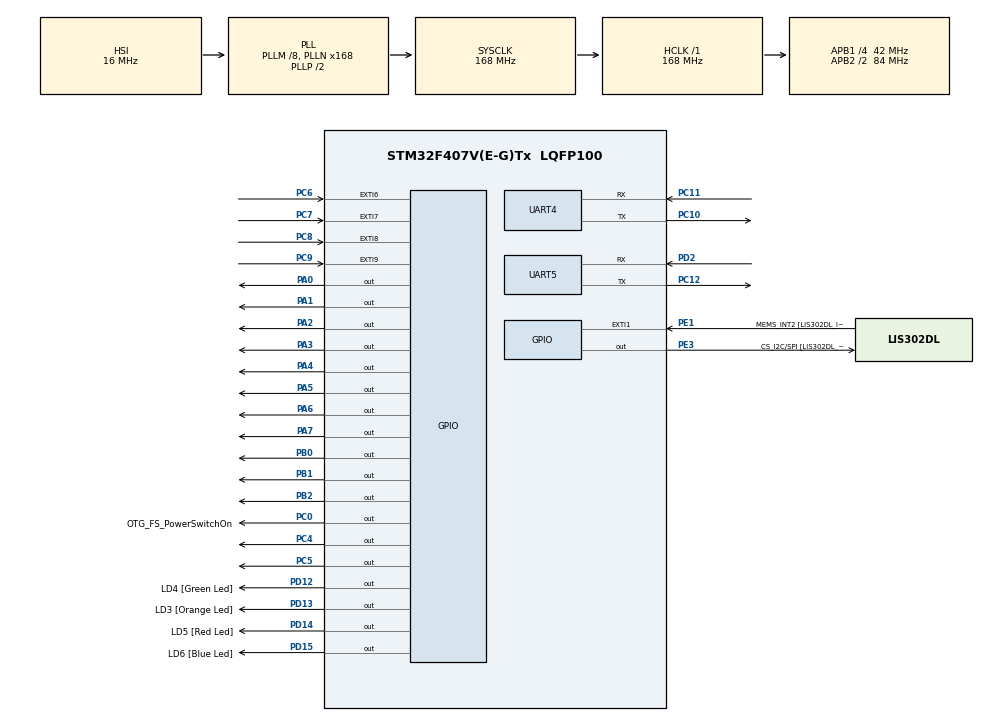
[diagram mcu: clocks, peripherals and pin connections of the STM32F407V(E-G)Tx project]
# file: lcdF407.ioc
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Mcu.Family=STM32F4
Mcu.Name=STM32F407V(E-G)Tx
Mcu.Package=LQFP100
NVIC.EXTI9_5_IRQn=true\:0\:0\:false\:false\:true\:true\:true\:true
NVIC.PriorityGroup=NVIC_PRIORITYGROUP_0
NVIC.UART4_IRQn=true\:0\:0\:false\:false\:true\:true\:true\:true
NVIC.UART5_IRQn=true\:0\:0\:false\:false\:true\:true\:true\:true
PA0-WKUP.Signal=GPIO_Output
PA1.Signal=GPIO_Output
PA10.GPIO_Label=OTG_FS_ID
PA10.GPIO_Mode=GPIO_MODE_AF_PP
PA10.GPIO_PuPd=GPIO_NOPULL
PA10.GPIO_Speed=GPIO_SPEED_FREQ_LOW
PA10.Signal=USB_OTG_FS_ID
PA11.GPIO_Label=OTG_FS_DM
PA11.GPIO_Mode=GPIO_MODE_AF_PP
PA11.GPIO_PuPd=GPIO_NOPULL
PA11.GPIO_Speed=GPIO_SPEED_FREQ_LOW
PA11.Signal=USB_OTG_FS_DM
PA12.GPIO_Label=OTG_FS_DP
PA12.GPIO_Mode=GPIO_MODE_AF_PP
PA12.GPIO_PuPd=GPIO_NOPULL
PA12.GPIO_Speed=GPIO_SPEED_FREQ_LOW
PA12.Signal=USB_OTG_FS_DP
PA13.GPIO_Label=SWDIO
PA13.Signal=SYS_JTMS-SWDIO
PA14.GPIO_Label=SWCLK
PA14.Signal=SYS_JTCK-SWCLK
PA2.Signal=GPIO_Output
PA3.Signal=GPIO_Output
PA4.Signal=GPIO_Output
PA5.Signal=GPIO_Output
PA6.Signal=GPIO_Output
PA7.Signal=GPIO_Output
PA9.GPIO_Label=VBUS_FS
PA9.GPIO_Mode=GPIO_MODE_INPUT
PA9.GPIO_PuPd=GPIO_NOPULL
PA9.Signal=USB_OTG_FS_VBUS
PB0.Signal=GPIO_Output
PB1.Signal=GPIO_Output
PB10.GPIO_Label=CLK_IN [MP45DT02_CLK]
PB10.GPIO_Mode=GPIO_MODE_AF_PP
PB10.GPIO_PuPd=GPIO_NOPULL
PB10.GPIO_Speed=GPIO_SPEED_FREQ_LOW
PB10.Signal=I2S2_CK
PB2.Signal=GPIO_Output
PB3.GPIO_Label=SWO
PB3.Signal=SYS_JTDO-SWO
PB6.GPIO_Label=Audio_SCL [CS43L22_SCL]
PB6.GPIO_Mode=GPIO_MODE_AF_OD
PB6.GPIO_PuPd=GPIO_NOPULL
PB6.GPIO_Speed=GPIO_SPEED_FREQ_LOW
PB6.Signal=I2C1_SCL
PB9.GPIO_Label=Audio_SDA [CS43L22_SDA]
PB9.GPIO_Mode=GPIO_MODE_AF_OD
PB9.GPIO_PuPd=GPIO_NOPULL
PB9.GPIO_Speed=GPIO_SPEED_FREQ_LOW
PB9.Signal=I2C1_SDA
PC0.GPIO_Label=OTG_FS_PowerSwitchOn
PC0.GPIO_PuPd=GPIO_NOPULL
PC0.GPIO_Speed=GPIO_SPEED_FREQ_LOW
PC0.PinState=GPIO_PIN_SET
PC0.Signal=GPIO_Output
PC10.Mode=Asynchronous
PC10.Signal=UART4_TX
PC11.Mode=Asynchronous
PC11.Signal=UART4_RX
PC12.Mode=Asynchronous
PC12.Signal=UART5_TX
PC14-OSC32_IN.GPIO_Label=PC14-OSC32_IN
PC14-OSC32_IN.Signal=RCC_OSC32_IN
PC15-OSC32_OUT.GPIO_Label=PC15-OSC32_OUT
PC15-OSC32_OUT.Signal=RCC_OSC32_OUT
PC3.GPIO_Label=PDM_OUT [MP45DT02_DOUT]
PC3.GPIO_Mode=GPIO_MODE_AF_PP
PC3.GPIO_PuPd=GPIO_NOPULL
PC3.GPIO_Speed=GPIO_SPEED_FREQ_LOW
PC3.Signal=I2S2_SD
PC4.Signal=GPIO_Output
PC5.Signal=GPIO_Output
PC6.GPIO_PuPd=GPIO_PULLDOWN
PC6.Signal=GPXTI6
PC7.GPIO_PuPd=GPIO_PULLDOWN
PC7.Signal=GPXTI7
PC8.GPIO_PuPd=GPIO_PULLDOWN
PC8.Signal=GPXTI8
PC9.GPIO_ModeDefaultEXTI=GPIO_MODE_IT_RISING
PC9.GPIO_PuPd=GPIO_PULLDOWN
PC9.Signal=GPXTI9
PD12.GPIO_Label=LD4 [Green Led]
PD12.GPIO_PuPd=GPIO_NOPULL
PD12.GPIO_Speed=GPIO_SPEED_FREQ_LOW
PD12.Signal=GPIO_Output
PD13.GPIO_Label=LD3 [Orange Led]
PD13.GPIO_PuPd=GPIO_NOPULL
PD13.GPIO_Speed=GPIO_SPEED_FREQ_LOW
PD13.Signal=GPIO_Output
PD14.GPIO_Label=LD5 [Red Led]
PD14.GPIO_PuPd=GPIO_NOPULL
PD14.GPIO_Speed=GPIO_SPEED_FREQ_LOW
PD14.Signal=GPIO_Output
PD15.GPIO_Label=LD6 [Blue Led]
PD15.GPIO_PuPd=GPIO_NOPULL
PD15.GPIO_Speed=GPIO_SPEED_FREQ_LOW
PD15.Signal=GPIO_Output
PD2.Mode=Asynchronous
PD2.Signal=UART5_RX
PE1.GPIO_Label=MEMS_INT2 [LIS302DL_INT2]
PE1.GPIO_ModeDefaultEXTI=GPIO_MODE_EVT_RISING
PE1.GPIO_PuPd=GPIO_NOPULL
PE1.Signal=GPXTI1
PE3.GPIO_Label=CS_I2C/SPI [LIS302DL_CS_I2C/SPI]
PE3.GPIO_PuPd=GPIO_NOPULL
PE3.GPIO_Speed=GPIO_SPEED_FREQ_LOW
PE3.Signal=GPIO_Output
PH0-OSC_IN.GPIO_Label=PH0-OSC_IN
PH0-OSC_IN.Signal=RCC_OSC_IN
PH1-OSC_OUT.GPIO_Label=PH1-OSC_OUT
PH1-OSC_OUT.Signal=RCC_OSC_OUT
ProjectManager.HeapSize=0x200
ProjectManager.StackSize=0x400
ProjectManager.TargetToolchain=STM32CubeIDE
RCC.48MHZClocksFreq_Value=48000000
RCC.AHBFreq_Value=168000000
RCC.APB1CLKDivider=RCC_HCLK_DIV4
RCC.APB1Freq_Value=42000000
RCC.APB1TimFreq_Value=84000000
RCC.APB2CLKDivider=RCC_HCLK_DIV2
RCC.APB2Freq_Value=84000000
RCC.APB2TimFreq_Value=168000000
RCC.CortexFreq_Value=168000000
RCC.HCLKFreq_Value=168000000
RCC.HSE_VALUE=8000000
RCC.HSI_VALUE=16000000
RCC.LSE_VALUE=32768
RCC.PLLM=8
RCC.PLLN=168
RCC.PLLQ=7
RCC.SYSCLKFreq_VALUE=168000000
RCC.SYSCLKSource=RCC_SYSCLKSOURCE_PLLCLK
RCC.VCOOutputFreq_Value=336000000
UART4.VirtualMode=Asynchronous
UART5.VirtualMode=Asynchronous
board=STM32F407G-DISC1

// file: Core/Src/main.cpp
/* USER CODE BEGIN Header */
/**
  ******************************************************************************
  * @file           : main.c
  * @brief          : Main program body
  ******************************************************************************
  * @attention
  *
  * Copyright (c) 2023 STMicroelectronics.
  * All rights reserved.
  *
  * This software is licensed under terms that can be found in the LICENSE file
  * in the root directory of this software component.
  * If no LICENSE file comes with this software, it is provided AS-IS.
  *
  ******************************************************************************
  */
/* USER CODE END Header */
#include "main.h"
#include "usart.h"
#include "gpio.h"

/* USER CODE BEGIN Includes */
#include "glcd.h"
#include "lcd_menu.h"
#include "button.h"
#include "string"
#include "string.h"
#include "strings.h"
#include "qrcode.h"
#include <stdarg.h>
/* USER CODE END Includes */

void SystemClock_Config(void);

/* USER CODE BEGIN 0 */
int up_button=0;
int down_button=0;
int ok_button=0;
int reset_button=0;
int buttontimer=0;
int qr_flag=0;
void HAL_GPIO_EXTI_Callback(uint16_t GPIO_Pin)
{
	if(GPIO_Pin == GPIO_PIN_7&&HAL_GetTick()-buttontimer>300) // если прерывание поступило от ножки PA9
	{
		up_button=1;
		buttontimer=HAL_GetTick();
	}
	else
		if(GPIO_Pin == GPIO_PIN_6&&HAL_GetTick()-buttontimer>300) // если прерывание поступило от ножки PA9
		{
			down_button=1;
			buttontimer=HAL_GetTick();
		}
		else
			if(GPIO_Pin == GPIO_PIN_9&&HAL_GetTick()-buttontimer>300) // если прерывание поступило от ножки PA9
			{
				ok_button=1;
				buttontimer=HAL_GetTick();

			}
			else
				if(GPIO_Pin == GPIO_PIN_8&&HAL_GetTick()-buttontimer>300) // если прерывание поступило от ножки PA9
				{
					reset_button=1;
					qr_flag=0;
					buttontimer=HAL_GetTick();

				}

}

void AdafruitPrint(const char *args, ...)
{
	char StrBuff[256];
	va_list ap;
	va_start(ap, args);
	char len = vsnprintf(StrBuff, sizeof(StrBuff), args, ap);
	va_end(ap);
	HAL_UART_Transmit(&huart5,(uint8_t*)StrBuff,len,100);
}

void QR()
{

	QRCode qrcode;

	char myIpQrData[120] ="https://electronics.stackexchange.com/questions/436803/how-to-design-an-stm32-board-with-uart-over-a-usb-connection";
	//prepareIpQrData(myIpQrData);

	const uint8_t ecc = 0;  //lowest level of error correction
	const uint8_t version = 11;

	uint8_t qrcodeData[qrcode_getBufferSize(version)];
	qrcode_initText(&qrcode,
			qrcodeData,
			version, ecc,
			myIpQrData);

	int qr[64][64] = {0};
	for (uint8_t y = 0; y < qrcode.size; y++) {
		for (uint8_t x = 0; x < qrcode.size; x++) {
			bool mod = qrcode_getModule(&qrcode, x, y);
			if(mod)
				qr[y][x] = 1;
			//sprintf(ch,"%u",qr[y][x] );
			//AdafruitPrint(ch);
		}
	//	AdafruitPrint("\n");
	}

	int sector8 = 0;
	//goto(y,0)
    		for(int y0 = 0;y0 <64; y0) {
    			for (uint8_t x = 0; x < 64; x++) {
    				for (uint8_t y = y0; y < y0 + 8; y++) {
    					if (qr[y][x] == 1)
    						sector8 |= 1 << y % 8;
    				}
    				glcd_gotoxy(x, y0/8);
    				glcd_putchar(sector8, 0);
    				sector8 = 0;
    			}
    			y0+=8;

    		}

}

void menu(int mode)
{
	switch (mode) {
		case 1:
			glcd_gotoxy(0, 0);
			for(int y=0;y<8;y++)
			{
				int x=0;
			for(int i=y*128;i<128*(y+1);i++)
			{
				glcd_gotoxy(x, y);
				glcd_putImage(wait[i], x);

				x++;
			}
			glcd_gotoxy(0, y+1);
			}

			break;
		case 2:
					glcd_gotoxy(0, 0);
					for(int y=0;y<8;y++)
					{
						int x=0;
					for(int i=y*128;i<128*(y+1);i++)
					{
						glcd_gotoxy(x, y);
						glcd_putImage(naliv[i], x);

						x++;
					}
					glcd_gotoxy(0, y+1);
					}

					break;

		case 3:
					glcd_gotoxy(0, 0);
					for(int y=0;y<8;y++)
					{
						int x=0;
					for(int i=y*128;i<128*(y+1);i++)
					{
						glcd_gotoxy(x, y);
						glcd_putImage(otmena[i], x);

						x++;
					}
					glcd_gotoxy(0, y+1);
					}

					break;

		case 4:
					if(qr_flag==0)
					{
					glcd_gotoxy(0, 0);
					for(int y=0;y<8;y++)
					{
						int x=0;
					for(int i=y*128;i<128*(y+1);i++)
					{
						glcd_gotoxy(x, y);
						glcd_putImage(oplata[i], x);

						x++;
					}
					glcd_gotoxy(0, y+1);
					}
					QR();
					qr_flag=1;
					}

					break;
		case 5:
					glcd_gotoxy(0, 0);
					for(int y=0;y<8;y++)
					{
						int x=0;
					for(int i=y*128;i<128*(y+1);i++)
					{
						glcd_gotoxy(x, y);
						glcd_putImage(vozvrat[i], x);

						x++;
					}
					glcd_gotoxy(0, y+1);
					}

					break;

	}

}

void nal_menu()
{
	switch (selectedMenuItem->payload.menu_ptr) {
		case menu1_ptr:
			menu(1);
			break;
		case menu2_ptr:
			menu(2);
					break;
		case menu3_ptr:
			menu(3);
					break;
		case menu4_ptr:
			menu(4);
					break;
		case menu5_ptr:
			menu(5);
					break;
	}
}

void QR_Reader()
{
	uint8_t QR_info[256];
	HAL_UARTEx_ReceiveToIdle_IT(&huart4, QR_info, 256);
}
/* USER CODE END 0 */

int main(void)
{

  /* MCU Configuration--------------------------------------------------------*/

  /* Reset of all peripherals, Initializes the Flash interface and the Systick. */
  HAL_Init();

  /* Configure the system clock */
  SystemClock_Config();

  /* Initialize all configured peripherals */
  MX_GPIO_Init();
  MX_UART5_Init();
  MX_UART4_Init();
  /* USER CODE BEGIN 2 */
	//HAL_UART_Transmit_IT(&huart5,(uint8_t*)"1\n", 2);
	glcd_on();
	glcd_clear_all();
	menu_init();
	startMenu();

	//QRcode qrcode;
	//HAL_UART_Transmit_IT(&huart5, (uint8_t*)"hello", 5);
	HAL_GPIO_WritePin(GPIOB, GPIO_PIN_4, GPIO_PIN_RESET);
	HAL_GPIO_WritePin(GPIOB,  GPIO_PIN_5, GPIO_PIN_RESET);
	HAL_GPIO_WritePin(GPIOB, GPIO_PIN_6, GPIO_PIN_RESET);
	HAL_GPIO_WritePin(GPIOB,  GPIO_PIN_7, GPIO_PIN_RESET);
	HAL_GPIO_WritePin(GPIOB,  GPIO_PIN_8, GPIO_PIN_RESET);
  /* USER CODE END 2 */

  /* Infinite loop */
  /* USER CODE BEGIN WHILE */
  while (1)
  {
		HAL_GPIO_TogglePin(GPIOD, GPIO_PIN_15);
		read_button();
		if(selectedMenuItem->payload.callback != nullptr)
			selectedMenuItem->payload.callback();
		//HAL_Delay(100);

		//  HAL_UART_Transmit(&huart5, (uint8_t*)"hello", 5, 500);

		// AdafruitPrint("\n");

		//HAL_UART_Transmit_IT(&huart5,(uint8_t*)"\n",1);
    /* USER CODE END WHILE */

  }
}

void SystemClock_Config(void)
{
  RCC_OscInitTypeDef RCC_OscInitStruct = {0};
  RCC_ClkInitTypeDef RCC_ClkInitStruct = {0};

  /** Configure the main internal regulator output voltage
  */
  __HAL_RCC_PWR_CLK_ENABLE();
  __HAL_PWR_VOLTAGESCALING_CONFIG(PWR_REGULATOR_VOLTAGE_SCALE1);

  /** Initializes the RCC Oscillators according to the specified parameters
  * in the RCC_OscInitTypeDef structure.
  */
  RCC_OscInitStruct.OscillatorType = RCC_OSCILLATORTYPE_HSI;
  RCC_OscInitStruct.HSIState = RCC_HSI_ON;
  RCC_OscInitStruct.HSICalibrationValue = RCC_HSICALIBRATION_DEFAULT;
  RCC_OscInitStruct.PLL.PLLState = RCC_PLL_ON;
  RCC_OscInitStruct.PLL.PLLSource = RCC_PLLSOURCE_HSI;
  RCC_OscInitStruct.PLL.PLLM = 8;
  RCC_OscInitStruct.PLL.PLLN = 168;
  RCC_OscInitStruct.PLL.PLLP = RCC_PLLP_DIV2;
  RCC_OscInitStruct.PLL.PLLQ = 7;
  if (HAL_RCC_OscConfig(&RCC_OscInitStruct) != HAL_OK)
  {
    Error_Handler();
  }

  /** Initializes the CPU, AHB and APB buses clocks
  */
  RCC_ClkInitStruct.ClockType = RCC_CLOCKTYPE_HCLK|RCC_CLOCKTYPE_SYSCLK
                              |RCC_CLOCKTYPE_PCLK1|RCC_CLOCKTYPE_PCLK2;
  RCC_ClkInitStruct.SYSCLKSource = RCC_SYSCLKSOURCE_PLLCLK;
  RCC_ClkInitStruct.AHBCLKDivider = RCC_SYSCLK_DIV1;
  RCC_ClkInitStruct.APB1CLKDivider = RCC_HCLK_DIV4;
  RCC_ClkInitStruct.APB2CLKDivider = RCC_HCLK_DIV2;

  if (HAL_RCC_ClockConfig(&RCC_ClkInitStruct, FLASH_LATENCY_5) != HAL_OK)
  {
    Error_Handler();
  }
}

void Error_Handler(void)
{
  __disable_irq();
  while (1)
  {
  }
}
